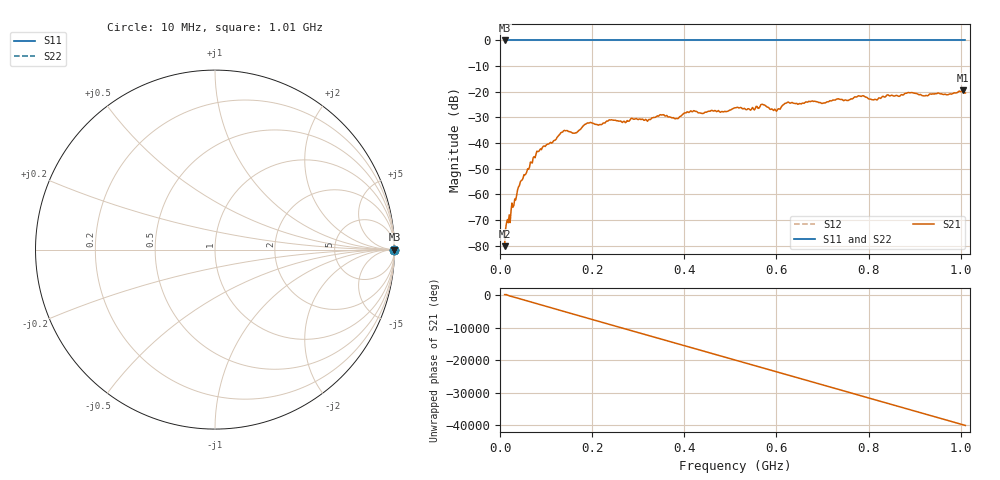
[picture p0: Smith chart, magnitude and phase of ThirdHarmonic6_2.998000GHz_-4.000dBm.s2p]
! 8/17/2025 8:33:46 AM
! C:\ANRITSUVNA\TEMP\TEMP.S2P
! CHANNEL.1
! TR.MEASUREMENT
! RAW.DATA
! RF.CORRECTION.OFF
! AVERAGING.OFF
! IF.BANDWIDTH: 5KHZ
! SWEEPTYPE:  FREQ.SWEEP(Linear)
! Reference Plane Port Info
! PORT:  PORT1  PORT2
! DISTANCE:  0  m  0  m
! TIME:  0  s  0  s
! PHASE.OFFSET:  0  deg.  0  deg.
! LOSS:  0  dB  0  dB
! REF.LOSS:  0  dB  0  dB
! REF.FREQ:  0  Hz  0  Hz
! Power Info
! POWER:  -20  dBm  -20  dBm
! EFF.POWER:  -20  dBm  -20  dBm
! SOURCE.ATTEN:  0  dB  0  dB
! TEST.ATTEN:  0  dB  0  dB
# GHZ S RI R 50.0
! FREQ.GHZ  S11RE  S11IM  S21RE  S21IM  S12RE  S12IM  S22RE  S22IM
!; PortSelection: Port_12
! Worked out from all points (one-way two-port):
!   501 points, 10 MHz to 1.01 GHz, reference 50 ohm
!   highest |S21| = -19.44 dB at 1.004 GHz (marker M1); lowest = -80.2 dB at 10 MHz (marker M2)
!   lowest |S11| = 0.0 dB at 10 MHz (marker M3)
!   |S11| at or under -10 dB: nowhere
!   |S22| runs from 0.0 to 0.0 dB; largest |S21 - S12| = 1.1
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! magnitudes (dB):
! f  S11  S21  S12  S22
! 10 MHz  0.0  -80.2  0.0  0.0
! 16 MHz  0.0  -69.8  0.0  0.0
! 42 MHz  0.0  -56.6  0.0  0.0
! 76 MHz  0.0  -45.7  0.0  0.0
! 136 MHz  0.0  -35.7  0.0  0.0
! 162 MHz  0.0  -36.2  0.0  0.0
! 178 MHz  0.0  -33.9  0.0  0.0
! 194 MHz  0.0  -32.1  0.0  0.0
! 322 MHz  0.0  -31.0  0.0  0.0
! 344 MHz  0.0  -29.5  0.0  0.0
! 382 MHz  0.0  -30.4  0.0  0.0
! 418 MHz  0.0  -27.8  0.0  0.0
! 510 MHz  0.0  -26.2  0.0  0.0
! 548 MHz  0.0  -26.1  0.0  0.0
! 570 MHz  0.0  -24.9  0.0  0.0
! 598 MHz  0.0  -27.1  0.0  0.0
! 622 MHz  0.0  -24.3  0.0  0.0
! 678 MHz  0.0  -23.6  0.0  0.0
! 814 MHz  0.0  -22.9  0.0  0.0
! 844 MHz  0.0  -21.5  0.0  0.0
! 1.004 GHz  0.0  -19.4  0.0  0.0
! 1.01 GHz  0.0  -20.5  0.0  0.0
